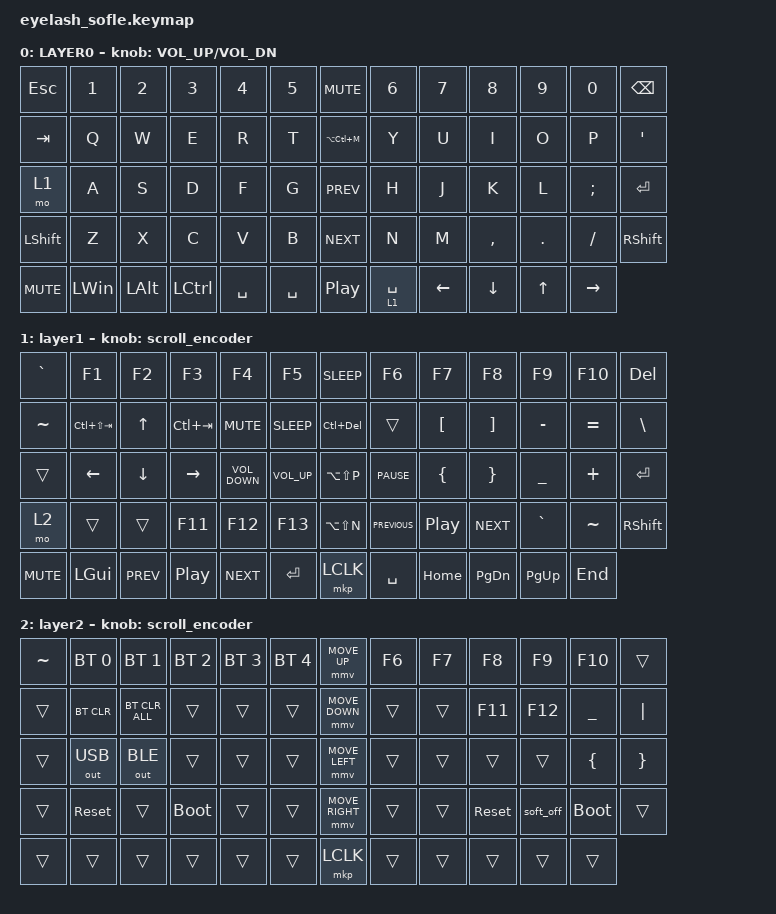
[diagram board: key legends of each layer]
#define ZMK_POINTING_DEFAULT_MOVE_VAL 1200  // 600
#define ZMK_POINTING_DEFAULT_SCRL_VAL 25   // 10

#include <input/processors.dtsi>
#include <zephyr/dt-bindings/input/input-event-codes.h>
#include <behaviors.dtsi>
#include <dt-bindings/zmk/bt.h>
#include <dt-bindings/zmk/keys.h>
#include <dt-bindings/zmk/outputs.h>
#include <dt-bindings/zmk/pointing.h>

&mmv_input_listener { input-processors = <&zip_xy_scaler 2 1>; };

&msc_input_listener { input-processors = <&zip_scroll_scaler 2 1>; };

&msc {
    acceleration-exponent = <1>;      // 0
    time-to-max-speed-ms = <100>;       // 300
    delay-ms = <0>;                   // 0
};

&mmv {
    time-to-max-speed-ms = <500>;
    acceleration-exponent = <1>;
    trigger-period-ms = <16>;
};

&soft_off { hold-time-ms = <2000>; };

/ {
    scroll_encoder: scroll_encoder {
        compatible = "zmk,behavior-sensor-rotate";
        #sensor-binding-cells = <0>;
        bindings = <&msc SCRL_DOWN>, <&msc SCRL_UP>;

        tap-ms = <100>;
    };

    behaviors {
    };

    combos {
        compatible = "zmk,combos";

        softoff {
            bindings = <&soft_off>;
            key-positions = <14 28 40>;
        };
    };

    macros {
        SHIFT_MCLK: SHIFT_MCLK {
            compatible = "zmk,behavior-macro";
            #binding-cells = <0>;
            bindings =
                <&macro_press>,
                <&kp LEFT_SHIFT>,
                <&macro_press>,
                <&mkp MB3>,
                <&macro_pause_for_release>,
                <&macro_release>,
                <&kp LEFT_SHIFT &mkp MB3>;

            label = "SHIFT_MCLK";
        };
    };

    keymap {
        compatible = "zmk,keymap";

        layer0 {
            bindings = <
&kp ESCAPE  &kp N1        &kp N2        &kp N3            &kp N4     &kp N5       &kp C_MUTE        &kp N6       &kp N7    &kp N8     &kp N9        &kp N0     &kp BACKSPACE
&kp TAB     &kp Q         &kp W         &kp E             &kp R      &kp T        &kp LA(LC(M))     &kp Y        &kp U     &kp I      &kp O         &kp P      &kp SQT
&mo 1       &kp A         &kp S         &kp D             &kp F      &kp G        &kp C_PREV        &kp H        &kp J     &kp K      &kp L         &kp SEMI   &kp ENTER
&kp LSHFT   &kp Z         &kp X         &kp C             &kp V      &kp B        &kp C_NEXT        &kp N        &kp M     &kp COMMA  &kp DOT       &kp FSLH   &kp RIGHT_SHIFT
&kp C_MUTE  &kp LEFT_WIN  &kp LEFT_ALT  &kp LEFT_CONTROL  &kp SPACE  &kp SPACE    &kp C_PLAY_PAUSE  &lt 1 SPACE  &kp LEFT  &kp DOWN   &kp UP_ARROW  &kp RIGHT
            >;

            sensor-bindings = <&inc_dec_kp C_VOLUME_UP C_VOL_DN>;
            display-name = "LAYER0";
        };

        layer_1 {
            bindings = <
&kp GRAVE   &kp F1           &kp F2        &kp F3            &kp F4             &kp F5             &kp C_SLEEP     &kp F6          &kp F7            &kp F8             &kp F9          &kp F10    &kp DELETE
&kp TILDE   &kp LC(LS(TAB))  &kp UP_ARROW  &kp LC(TAB)       &kp C_MUTE         &kp C_SLEEP        &kp LC(DELETE)  &trans          &kp LEFT_BRACKET  &kp RIGHT_BRACKET  &kp MINUS       &kp EQUAL  &kp BACKSLASH
&trans      &kp LEFT         &kp DOWN      &kp RIGHT         &kp C_VOLUME_DOWN  &kp C_VOLUME_UP    &kp LA(LS(P))   &kp C_PAUSE     &kp LEFT_BRACE    &kp RIGHT_BRACE    &kp UNDERSCORE  &kp PLUS   &kp ENTER
&mo 2       &trans           &trans        &kp F11           &kp F12            &kp F13            &kp LA(LS(N))   &kp C_PREVIOUS  &kp C_PLAY_PAUSE  &kp C_NEXT         &kp GRAVE       &kp TILDE  &kp RIGHT_SHIFT
&kp C_MUTE  &kp LEFT_GUI     &kp C_PREV    &kp C_PLAY_PAUSE  &kp C_NEXT         &kp ENTER          &mkp LCLK       &kp SPACE       &kp HOME          &kp PAGE_DOWN      &kp PAGE_UP     &kp END
            >;

            display-name = "layer1";
            sensor-bindings = <&scroll_encoder>;
        };

        layer_2 {
            bindings = <
&kp TILDE  &bt BT_SEL 0  &bt BT_SEL 1    &bt BT_SEL 2  &bt BT_SEL 3  &bt BT_SEL 4    &mmv MOVE_UP     &kp F6  &kp F7  &kp F8      &kp F9     &kp F10      &trans
&trans     &bt BT_CLR    &bt BT_CLR_ALL  &trans        &trans        &trans          &mmv MOVE_DOWN   &trans  &trans  &kp F11     &kp F12    &kp UNDER    &kp PIPE
&trans     &out OUT_USB  &out OUT_BLE    &trans        &trans        &trans          &mmv MOVE_LEFT   &trans  &trans  &trans      &trans     &kp LBRC     &kp RBRC
&trans     &sys_reset    &trans          &bootloader   &trans        &trans          &mmv MOVE_RIGHT  &trans  &trans  &sys_reset  &soft_off  &bootloader  &trans
&trans     &trans        &trans          &trans        &trans        &trans          &mkp LCLK        &trans  &trans  &trans      &trans     &trans
            >;

            display-name = "layer2";
            sensor-bindings = <&scroll_encoder>;
        };
    };
};
